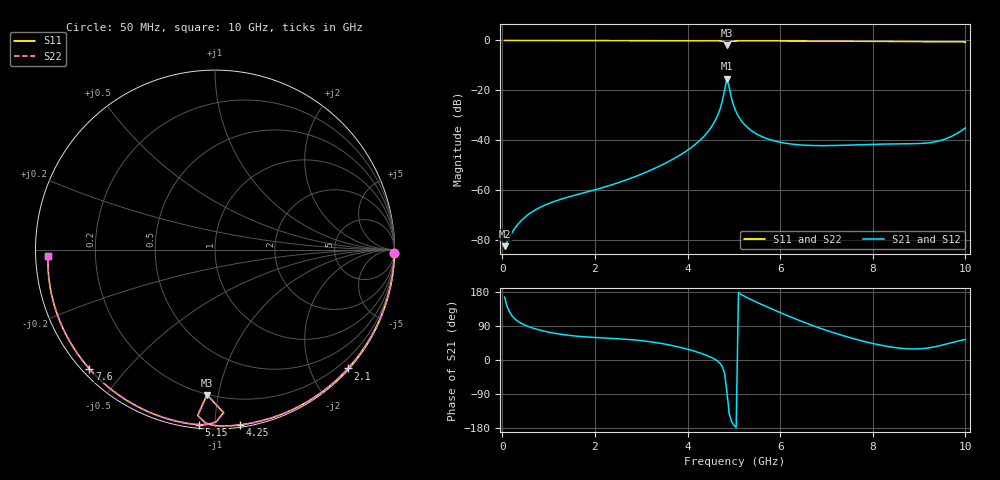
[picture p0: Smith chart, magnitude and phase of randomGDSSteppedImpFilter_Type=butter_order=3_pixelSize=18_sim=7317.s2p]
! freq	dB(S11)	phase(S11)	dB(S12)	phase(S12)
!  dB(S21)	phase(S21)	dB(S22)	phase(S22)
!S-par simulation data
#  GHz  S  DB  R 50
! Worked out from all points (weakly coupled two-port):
!   200 points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, 50 MHz to 10 GHz, reference 50 ohm
!   highest |S21| = -15.28 dB at 4.85 GHz (marker M1); lowest = -82.5 dB at 50 MHz (marker M2)
!   lowest |S11| = -1.8 dB at 4.85 GHz (marker M3), VSWR 9.61, Z = 9.77 - j46.3 ohm
!   |S11| at or under -10 dB: nowhere
!   |S22| runs from -1.8 to 0.0 dB; largest |S21 - S12| = 0
!   S11 on the Smith chart (normalised r, x): 50 MHz: open; 2.1 GHz: 0.02, -2.62; 4.25 GHz: 0.02, -1.15; 5.15 GHz: 0.02, -0.91; 7.6 GHz: 0.02, -0.40; 10 GHz: 0.04, -0.02
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0.05  -0.00 -1.0  -82.51 166.2  -82.51 166.2  -0.00 -1.0
0.4  -0.01 -8.1  -72.44 97.5  -72.44 97.5  -0.01 -8.1
0.7  -0.01 -14.2  -68.11 82.7  -68.11 82.7  -0.01 -14.2
1.75  -0.04 -35.0  -61.16 61.4  -61.16 61.4  -0.04 -35.0
2.1  -0.05 -41.8  -59.38 58.7  -59.38 58.7  -0.05 -41.8
3.4  -0.09 -66.2  -50.35 44.4  -50.35 44.4  -0.09 -66.2
4.25  -0.12 -81.8  -40.37 19.4  -40.37 19.4  -0.12 -81.8
4.5  -0.14 -86.6  -35.12 7.6  -35.12 7.6  -0.14 -86.6
4.65  -0.17 -90.0  -30.07 -3.0  -30.07 -3.0  -0.17 -90.0
4.75  -0.30 -93.3  -24.41 -17.1  -24.41 -17.1  -0.30 -93.4
4.85  -1.81 -93.2  -15.28 -84.3  -15.28 -84.3  -1.83 -93.2
4.9  -0.83 -87.0  -18.73 -141.5  -18.73 -141.5  -0.83 -86.9
4.95  -0.37 -89.5  -23.25 -162.2  -23.25 -162.2  -0.38 -89.5
5.05  -0.21 -92.9  -28.67 -178.0  -28.67 -178.0  -0.21 -92.9
5.15  -0.18 -95.2  -31.89 173.5  -31.89 173.5  -0.18 -95.2
5.4  -0.17 -100.0  -36.43 157.7  -36.43 157.7  -0.17 -100.0
5.7  -0.18 -105.3  -39.27 141.1  -39.27 141.1  -0.18 -105.3
6.7  -0.24 -121.9  -42.14 91.1  -42.14 91.1  -0.24 -121.9
7.6  -0.31 -136.5  -41.91 55.8  -41.91 55.8  -0.31 -136.5
8.35  -0.38 -148.7  -41.53 35.2  -41.53 35.2  -0.38 -148.7
9.4  -0.51 -166.6  -40.44 36.4  -40.44 36.4  -0.51 -166.6
10  -0.62 -177.8  -35.11 54.2  -35.11 54.2  -0.62 -177.8
